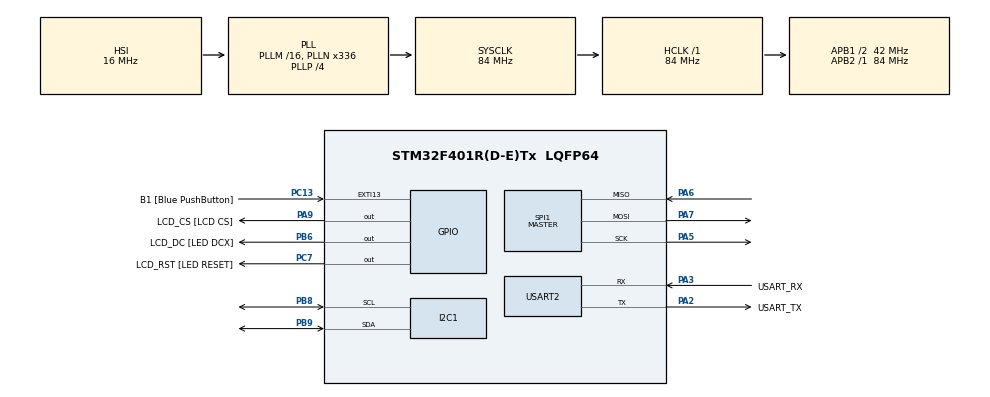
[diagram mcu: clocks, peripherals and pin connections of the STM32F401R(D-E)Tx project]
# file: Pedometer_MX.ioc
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I2C1.I2C_Mode=I2C_Fast
Mcu.Family=STM32F4
Mcu.Name=STM32F401R(D-E)Tx
Mcu.Package=LQFP64
NVIC.EXTI15_10_IRQn=true\:0\:0\:false\:false\:true\:true\:true\:true
NVIC.PriorityGroup=NVIC_PRIORITYGROUP_0
NVIC.TIM2_IRQn=true\:0\:0\:false\:false\:true\:true\:true\:true
PA13.GPIO_Label=TMS
PA13.Mode=Serial_Wire
PA13.Signal=SYS_JTMS-SWDIO
PA14.GPIO_Label=TCK
PA14.Mode=Serial_Wire
PA14.Signal=SYS_JTCK-SWCLK
PA2.GPIO_Label=USART_TX
PA2.GPIO_Mode=GPIO_MODE_AF_PP
PA2.GPIO_PuPd=GPIO_NOPULL
PA2.GPIO_Speed=GPIO_SPEED_FREQ_LOW
PA2.Mode=Asynchronous
PA2.Signal=USART2_TX
PA3.GPIO_Label=USART_RX
PA3.GPIO_Mode=GPIO_MODE_AF_PP
PA3.GPIO_PuPd=GPIO_NOPULL
PA3.GPIO_Speed=GPIO_SPEED_FREQ_LOW
PA3.Mode=Asynchronous
PA3.Signal=USART2_RX
PA5.Mode=Full_Duplex_Master
PA5.Signal=SPI1_SCK
PA6.Mode=Full_Duplex_Master
PA6.Signal=SPI1_MISO
PA7.Mode=Full_Duplex_Master
PA7.Signal=SPI1_MOSI
PA9.GPIO_Label=LCD_CS [LCD CS]
PA9.GPIO_PuPd=GPIO_PULLUP
PA9.GPIO_Speed=GPIO_SPEED_FREQ_VERY_HIGH
PA9.Signal=GPIO_Output
PB3.GPIO_Label=SWO
PB3.Signal=SYS_JTDO-SWO
PB6.GPIO_Label=LCD_DC [LED DCX]
PB6.GPIO_PuPd=GPIO_PULLUP
PB6.GPIO_Speed=GPIO_SPEED_FREQ_VERY_HIGH
PB6.Signal=GPIO_Output
PB8.Mode=I2C
PB8.Signal=I2C1_SCL
PB9.Mode=I2C
PB9.Signal=I2C1_SDA
PC13-ANTI_TAMP.GPIO_Label=B1 [Blue PushButton]
PC13-ANTI_TAMP.GPIO_ModeDefaultEXTI=GPIO_MODE_IT_FALLING
PC13-ANTI_TAMP.GPIO_PuPd=GPIO_NOPULL
PC13-ANTI_TAMP.Signal=GPXTI13
PC14-OSC32_IN.Mode=LSE-External-Oscillator
PC14-OSC32_IN.Signal=RCC_OSC32_IN
PC15-OSC32_OUT.Mode=LSE-External-Oscillator
PC15-OSC32_OUT.Signal=RCC_OSC32_OUT
PC7.GPIO_Label=LCD_RST [LED RESET]
PC7.GPIO_PuPd=GPIO_PULLUP
PC7.GPIO_Speed=GPIO_SPEED_FREQ_VERY_HIGH
PC7.Signal=GPIO_Output
PH0\ -\ OSC_IN.Mode=HSE-External-Clock-Source
PH0\ -\ OSC_IN.Signal=RCC_OSC_IN
PH1\ -\ OSC_OUT.Mode=HSE-External-Clock-Source
PH1\ -\ OSC_OUT.Signal=RCC_OSC_OUT
ProjectManager.HeapSize=0x200
ProjectManager.StackSize=0x400
ProjectManager.TargetToolchain=MDK-ARM V5.32
RCC.48MHZClocksFreq_Value=48000000
RCC.AHBFreq_Value=84000000
RCC.APB1CLKDivider=RCC_HCLK_DIV2
RCC.APB1Freq_Value=42000000
RCC.APB1TimFreq_Value=84000000
RCC.APB2Freq_Value=84000000
RCC.APB2TimFreq_Value=84000000
RCC.CortexFreq_Value=84000000
RCC.HCLKFreq_Value=84000000
RCC.HSE_VALUE=8000000
RCC.HSI_VALUE=16000000
RCC.PLLN=336
RCC.PLLP=RCC_PLLP_DIV4
RCC.PLLQ=7
RCC.SYSCLKFreq_VALUE=84000000
RCC.SYSCLKSource=RCC_SYSCLKSOURCE_PLLCLK
RCC.VCOOutputFreq_Value=336000000
SPI1.Direction=SPI_DIRECTION_2LINES
SPI1.Mode=SPI_MODE_MASTER
SPI1.VirtualType=VM_MASTER
TIM2.AutoReloadPreload=TIM_AUTORELOAD_PRELOAD_ENABLE
TIM2.Period=4199
TIM2.Prescaler=999
USART2.VirtualMode=VM_ASYNC
VP_RTC_VS_RTC_Activate.Mode=RTC_Enabled
VP_RTC_VS_RTC_Calendar.Mode=RTC_Calendar
VP_TIM2_VS_ClockSourceINT.Mode=Internal
board=NUCLEO-F401RE

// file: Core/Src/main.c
/* USER CODE BEGIN Header */
/**
 ******************************************************************************
 * @file           : main.c
 * @brief          : Main program body
 ******************************************************************************
 * @attention
 *
 * Copyright (c) 2023 STMicroelectronics.
 * All rights reserved.
 *
 * This software is licensed under terms that can be found in the LICENSE file
 * in the root directory of this software component.
 * If no LICENSE file comes with this software, it is provided AS-IS.
 *
 ******************************************************************************
 */
/* USER CODE END Header */
#include "main.h"

/* USER CODE BEGIN Includes */
#include <string.h> /* strlen */
#include <stdio.h>  /* snprintf */
#include <math.h>   /* trunc */
#include "pedometer.h"
#include "display.h"
/* USER CODE END Includes */

/* USER CODE BEGIN PTD */
typedef struct displayFloatToInt_s
{
  int8_t sign; /* 0 means positive, 1 means negative*/
  uint32_t out_int;
  uint32_t out_dec;
} displayFloatToInt_t;
/* USER CODE END PTD */

/* USER CODE BEGIN PD */
#define MAX_BUF_SIZE 256
/* USER CODE END PD */

I2C_HandleTypeDef hi2c1;

RTC_HandleTypeDef hrtc;

SPI_HandleTypeDef hspi1;

TIM_HandleTypeDef htim2;

UART_HandleTypeDef huart2;

/* USER CODE BEGIN PV */
int RTC_SYNCH_PREDIV = 255;
static volatile uint8_t acquire_data_enable_request = 1;
static volatile uint8_t acquire_data_disable_request = 0;

static uint8_t acquire_data_enabled = 0;
static uint8_t verbose = 0; /* Verbose output to UART terminal ON/OFF. */

static char dataOut[MAX_BUF_SIZE];

static void *LSM6DS0_X_0_handle = NULL;
static void *HTS221_H_0_handle  = NULL;
static void *HTS221_T_0_handle  = NULL;

AccVector acc;
Acc data;
FilterAccBuffer coord_data;
StepDetectHandler hdetect;
int step_temp[2];
float temperature_temp[2];
float humidity_temp[2];

/* USER CODE END PV */

void SystemClock_Config(void);
static void MX_GPIO_Init(void);
static void MX_I2C1_Init(void);
static void MX_USART2_UART_Init(void);
static void MX_TIM2_Init(void);
static void MX_RTC_Init(void);
static void MX_SPI1_Init(void);
/* USER CODE BEGIN PFP */
static void initializeAllSensors(void);
static void enableAllSensors(void);
static void disableAllSensors(void);
static void floatToInt(float in, displayFloatToInt_t *out_value, int32_t dec_prec);
// static void RTC_Handler( void );

static void Accelero_Sensor_Handler(void *handle);
static void Humidity_Sensor_Handler( void *handle );
static void Temperature_Sensor_Handler( void *handle );
/* USER CODE END PFP */

int main(void)
{

  /* MCU Configuration--------------------------------------------------------*/

  /* Reset of all peripherals, Initializes the Flash interface and the Systick. */
  HAL_Init();

  /* Configure the system clock */
  SystemClock_Config();

  /* USER CODE BEGIN SysInit */

  /* Initialize LED */
  BSP_LED_Init(LED2);

  /* Initialize button */
  BSP_PB_Init(BUTTON_KEY, BUTTON_MODE_EXTI);

  /* USER CODE END SysInit */

  /* Initialize all configured peripherals */
  MX_GPIO_Init();
  MX_I2C1_Init();
  MX_USART2_UART_Init();
  MX_TIM2_Init();
  MX_RTC_Init();
  MX_SPI1_Init();
  /* USER CODE BEGIN 2 */
  initializeAllSensors();
  Display_Page_Initialize();
  HAL_TIM_Base_Start_IT(&htim2);
  /* USER CODE END 2 */

  /* Infinite loop */
  /* USER CODE BEGIN WHILE */
  while (1)
  {
    if (acquire_data_enable_request == 1)
    {
      enableAllSensors();
      acquire_data_enabled = 1;
      acquire_data_enable_request = 0;
    }

    if (acquire_data_disable_request == 1)
    {
      disableAllSensors();
      acquire_data_enabled = 0;
      acquire_data_disable_request = 0;
    }
    /* USER CODE END WHILE */

  }
}

void SystemClock_Config(void)
{
  RCC_OscInitTypeDef RCC_OscInitStruct = {0};
  RCC_ClkInitTypeDef RCC_ClkInitStruct = {0};

  /** Configure the main internal regulator output voltage
  */
  __HAL_RCC_PWR_CLK_ENABLE();
  __HAL_PWR_VOLTAGESCALING_CONFIG(PWR_REGULATOR_VOLTAGE_SCALE2);

  /** Initializes the RCC Oscillators according to the specified parameters
  * in the RCC_OscInitTypeDef structure.
  */
  RCC_OscInitStruct.OscillatorType = RCC_OSCILLATORTYPE_HSI|RCC_OSCILLATORTYPE_LSI;
  RCC_OscInitStruct.HSIState = RCC_HSI_ON;
  RCC_OscInitStruct.HSICalibrationValue = RCC_HSICALIBRATION_DEFAULT;
  RCC_OscInitStruct.LSIState = RCC_LSI_ON;
  RCC_OscInitStruct.PLL.PLLState = RCC_PLL_ON;
  RCC_OscInitStruct.PLL.PLLSource = RCC_PLLSOURCE_HSI;
  RCC_OscInitStruct.PLL.PLLM = 16;
  RCC_OscInitStruct.PLL.PLLN = 336;
  RCC_OscInitStruct.PLL.PLLP = RCC_PLLP_DIV4;
  RCC_OscInitStruct.PLL.PLLQ = 7;
  if (HAL_RCC_OscConfig(&RCC_OscInitStruct) != HAL_OK)
  {
    Error_Handler();
  }

  /** Initializes the CPU, AHB and APB buses clocks
  */
  RCC_ClkInitStruct.ClockType = RCC_CLOCKTYPE_HCLK|RCC_CLOCKTYPE_SYSCLK
                              |RCC_CLOCKTYPE_PCLK1|RCC_CLOCKTYPE_PCLK2;
  RCC_ClkInitStruct.SYSCLKSource = RCC_SYSCLKSOURCE_PLLCLK;
  RCC_ClkInitStruct.AHBCLKDivider = RCC_SYSCLK_DIV1;
  RCC_ClkInitStruct.APB1CLKDivider = RCC_HCLK_DIV2;
  RCC_ClkInitStruct.APB2CLKDivider = RCC_HCLK_DIV1;

  if (HAL_RCC_ClockConfig(&RCC_ClkInitStruct, FLASH_LATENCY_2) != HAL_OK)
  {
    Error_Handler();
  }
}

static void MX_I2C1_Init(void)
{

  hi2c1.Instance = I2C1;
  hi2c1.Init.ClockSpeed = 400000;
  hi2c1.Init.DutyCycle = I2C_DUTYCYCLE_2;
  hi2c1.Init.OwnAddress1 = 0;
  hi2c1.Init.AddressingMode = I2C_ADDRESSINGMODE_7BIT;
  hi2c1.Init.DualAddressMode = I2C_DUALADDRESS_DISABLE;
  hi2c1.Init.OwnAddress2 = 0;
  hi2c1.Init.GeneralCallMode = I2C_GENERALCALL_DISABLE;
  hi2c1.Init.NoStretchMode = I2C_NOSTRETCH_DISABLE;
  if (HAL_I2C_Init(&hi2c1) != HAL_OK)
  {
    Error_Handler();
  }

}

static void MX_RTC_Init(void)
{

  RTC_TimeTypeDef sTime = {0};
  RTC_DateTypeDef sDate = {0};

  /** Initialize RTC Only
  */
  hrtc.Instance = RTC;
  hrtc.Init.HourFormat = RTC_HOURFORMAT_24;
  hrtc.Init.AsynchPrediv = 127;
  hrtc.Init.SynchPrediv = 255;
  hrtc.Init.OutPut = RTC_OUTPUT_DISABLE;
  hrtc.Init.OutPutPolarity = RTC_OUTPUT_POLARITY_HIGH;
  hrtc.Init.OutPutType = RTC_OUTPUT_TYPE_OPENDRAIN;
  if (HAL_RTC_Init(&hrtc) != HAL_OK)
  {
    Error_Handler();
  }

  /** Initialize RTC and set the Time and Date
  */
  sTime.Hours = 0x0;
  sTime.Minutes = 0x0;
  sTime.Seconds = 0x0;
  sTime.DayLightSaving = RTC_DAYLIGHTSAVING_NONE;
  sTime.StoreOperation = RTC_STOREOPERATION_RESET;
  if (HAL_RTC_SetTime(&hrtc, &sTime, RTC_FORMAT_BCD) != HAL_OK)
  {
    Error_Handler();
  }
  sDate.WeekDay = RTC_WEEKDAY_MONDAY;
  sDate.Month = RTC_MONTH_JANUARY;
  sDate.Date = 0x1;
  sDate.Year = 0x0;

  if (HAL_RTC_SetDate(&hrtc, &sDate, RTC_FORMAT_BCD) != HAL_OK)
  {
    Error_Handler();
  }

}

static void MX_SPI1_Init(void)
{

  /* SPI1 parameter configuration*/
  hspi1.Instance = SPI1;
  hspi1.Init.Mode = SPI_MODE_MASTER;
  hspi1.Init.Direction = SPI_DIRECTION_2LINES;
  hspi1.Init.DataSize = SPI_DATASIZE_8BIT;
  hspi1.Init.CLKPolarity = SPI_POLARITY_LOW;
  hspi1.Init.CLKPhase = SPI_PHASE_1EDGE;
  hspi1.Init.NSS = SPI_NSS_SOFT;
  hspi1.Init.BaudRatePrescaler = SPI_BAUDRATEPRESCALER_2;
  hspi1.Init.FirstBit = SPI_FIRSTBIT_MSB;
  hspi1.Init.TIMode = SPI_TIMODE_DISABLE;
  hspi1.Init.CRCCalculation = SPI_CRCCALCULATION_DISABLE;
  hspi1.Init.CRCPolynomial = 10;
  if (HAL_SPI_Init(&hspi1) != HAL_OK)
  {
    Error_Handler();
  }

}

static void MX_TIM2_Init(void)
{

  TIM_ClockConfigTypeDef sClockSourceConfig = {0};
  TIM_MasterConfigTypeDef sMasterConfig = {0};

  htim2.Instance = TIM2;
  htim2.Init.Prescaler = 999;
  htim2.Init.CounterMode = TIM_COUNTERMODE_UP;
  htim2.Init.Period = 4199;
  htim2.Init.ClockDivision = TIM_CLOCKDIVISION_DIV1;
  htim2.Init.AutoReloadPreload = TIM_AUTORELOAD_PRELOAD_ENABLE;
  if (HAL_TIM_Base_Init(&htim2) != HAL_OK)
  {
    Error_Handler();
  }
  sClockSourceConfig.ClockSource = TIM_CLOCKSOURCE_INTERNAL;
  if (HAL_TIM_ConfigClockSource(&htim2, &sClockSourceConfig) != HAL_OK)
  {
    Error_Handler();
  }
  sMasterConfig.MasterOutputTrigger = TIM_TRGO_RESET;
  sMasterConfig.MasterSlaveMode = TIM_MASTERSLAVEMODE_DISABLE;
  if (HAL_TIMEx_MasterConfigSynchronization(&htim2, &sMasterConfig) != HAL_OK)
  {
    Error_Handler();
  }

}

static void MX_USART2_UART_Init(void)
{

  huart2.Instance = USART2;
  huart2.Init.BaudRate = 115200;
  huart2.Init.WordLength = UART_WORDLENGTH_8B;
  huart2.Init.StopBits = UART_STOPBITS_1;
  huart2.Init.Parity = UART_PARITY_NONE;
  huart2.Init.Mode = UART_MODE_TX_RX;
  huart2.Init.HwFlowCtl = UART_HWCONTROL_NONE;
  huart2.Init.OverSampling = UART_OVERSAMPLING_16;
  if (HAL_UART_Init(&huart2) != HAL_OK)
  {
    Error_Handler();
  }

}

static void MX_GPIO_Init(void)
{
  GPIO_InitTypeDef GPIO_InitStruct = {0};

  /* GPIO Ports Clock Enable */
  __HAL_RCC_GPIOC_CLK_ENABLE();
  __HAL_RCC_GPIOH_CLK_ENABLE();
  __HAL_RCC_GPIOA_CLK_ENABLE();
  __HAL_RCC_GPIOB_CLK_ENABLE();

  /*Configure GPIO pin Output Level */
  HAL_GPIO_WritePin(LCD_RST_GPIO_Port, LCD_RST_Pin, GPIO_PIN_RESET);

  /*Configure GPIO pin Output Level */
  HAL_GPIO_WritePin(LCD_CS_GPIO_Port, LCD_CS_Pin, GPIO_PIN_RESET);

  /*Configure GPIO pin Output Level */
  HAL_GPIO_WritePin(LCD_DC_GPIO_Port, LCD_DC_Pin, GPIO_PIN_RESET);

  /*Configure GPIO pin : B1_Pin */
  GPIO_InitStruct.Pin = B1_Pin;
  GPIO_InitStruct.Mode = GPIO_MODE_IT_FALLING;
  GPIO_InitStruct.Pull = GPIO_NOPULL;
  HAL_GPIO_Init(B1_GPIO_Port, &GPIO_InitStruct);

  /*Configure GPIO pin : LCD_RST_Pin */
  GPIO_InitStruct.Pin = LCD_RST_Pin;
  GPIO_InitStruct.Mode = GPIO_MODE_OUTPUT_PP;
  GPIO_InitStruct.Pull = GPIO_PULLUP;
  GPIO_InitStruct.Speed = GPIO_SPEED_FREQ_VERY_HIGH;
  HAL_GPIO_Init(LCD_RST_GPIO_Port, &GPIO_InitStruct);

  /*Configure GPIO pin : LCD_CS_Pin */
  GPIO_InitStruct.Pin = LCD_CS_Pin;
  GPIO_InitStruct.Mode = GPIO_MODE_OUTPUT_PP;
  GPIO_InitStruct.Pull = GPIO_PULLUP;
  GPIO_InitStruct.Speed = GPIO_SPEED_FREQ_VERY_HIGH;
  HAL_GPIO_Init(LCD_CS_GPIO_Port, &GPIO_InitStruct);

  /*Configure GPIO pin : LCD_DC_Pin */
  GPIO_InitStruct.Pin = LCD_DC_Pin;
  GPIO_InitStruct.Mode = GPIO_MODE_OUTPUT_PP;
  GPIO_InitStruct.Pull = GPIO_PULLUP;
  GPIO_InitStruct.Speed = GPIO_SPEED_FREQ_VERY_HIGH;
  HAL_GPIO_Init(LCD_DC_GPIO_Port, &GPIO_InitStruct);

  /* EXTI interrupt init*/
  HAL_NVIC_SetPriority(EXTI15_10_IRQn, 0, 0);
  HAL_NVIC_EnableIRQ(EXTI15_10_IRQn);

}

/* USER CODE BEGIN 4 */
/**
 * @brief  Splits a float into two integer values.
 * @param  in the float value as input
 * @param  out_value the pointer to the output integer structure
 * @param  dec_prec the decimal precision to be used
 * @retval None
 */
static void floatToInt(float in, displayFloatToInt_t *out_value, int32_t dec_prec)
{
  if (in >= 0.0f)
  {
    out_value->sign = 0;
  }
  else
  {
    out_value->sign = 1;
    in = -in;
  }

  out_value->out_int = (int32_t)in;
  in = in - (float)(out_value->out_int);
  out_value->out_dec = (int32_t)trunc(in * pow(10, dec_prec));
}
/**
 * @brief  Handles the time+date getting/sending
 * @param  None
 * @retval None
 */
static void RTC_Handler(void)
{

  uint8_t subSec = 0;
  RTC_DateTypeDef sdatestructureget;
  RTC_TimeTypeDef stimestructure;

  HAL_RTC_GetTime(&hrtc, &stimestructure, FORMAT_BIN);
  HAL_RTC_GetDate(&hrtc, &sdatestructureget, FORMAT_BIN);
  subSec = ((((((int)RTC_SYNCH_PREDIV) - ((int)stimestructure.SubSeconds)) * 100) /
             (RTC_SYNCH_PREDIV + 1)) &
            0xff);

  snprintf(dataOut, MAX_BUF_SIZE, "TimeStamp: %02d:%02d:%02d.%02d ", stimestructure.Hours, stimestructure.Minutes,
           stimestructure.Seconds, subSec);
  // snprintf( dataOut, MAX_BUF_SIZE, "\r\n\r\n\r\nTimeStamp: %02d:%02d:%02d.%02d\r\n", stimestructure.Hours, stimestructure.Minutes,
  //          stimestructure.Seconds, subSec );

  HAL_UART_Transmit(&huart2, (uint8_t *)dataOut, strlen(dataOut), 5000);
}

/**
 * @brief  Handles the accelerometer axes data getting/sending
 * @param  handle the device handle
 * @retval None
 */
static void Accelero_Sensor_Handler(void *handle)
{

  uint8_t who_am_i;
  float odr;
  float fullScale;
  uint8_t id;
  SensorAxes_t acceleration;
  uint8_t status;
  displayFloatToInt_t out_value;
  AccVector data_in;  // For pedometer

  BSP_ACCELERO_Get_Instance(handle, &id);

  BSP_ACCELERO_IsInitialized(handle, &status);

  if (status == 1)
  {
    if (BSP_ACCELERO_Get_Axes(handle, &acceleration) == COMPONENT_ERROR)
    {
      acceleration.AXIS_X = 0;
      acceleration.AXIS_Y = 0;
      acceleration.AXIS_Z = 0;
    }

    // For pedometer
    data_in.AccX = (float)acceleration.AXIS_X / 1000.0f;
    data_in.AccY = (float)acceleration.AXIS_Y / 1000.0f;
    data_in.AccZ = (float)acceleration.AXIS_Z / 1000.0f;
    pedometer_update(data_in, &data, &coord_data, &hdetect);
    step_temp[0] = hdetect.step;

    // snprintf( dataOut, MAX_BUF_SIZE, "\r\nACC_X[%d]: %d, ACC_Y[%d]: %d, ACC_Z[%d]: %d\r\n", (int)id, (int)acceleration.AXIS_X, (int)id,
    //          (int)acceleration.AXIS_Y, (int)id, (int)acceleration.AXIS_Z );

    // HAL_UART_Transmit( &huart2, ( uint8_t * )dataOut, strlen( dataOut ), 5000 );

    if (verbose == 1)
    {
      if (BSP_ACCELERO_Get_WhoAmI(handle, &who_am_i) == COMPONENT_ERROR)
      {
        snprintf(dataOut, MAX_BUF_SIZE, "WHO AM I address[%d]: ERROR\r\n", id);
      }
      else
      {
        snprintf(dataOut, MAX_BUF_SIZE, "WHO AM I address[%d]: 0x%02X\r\n", id, who_am_i);
      }

      HAL_UART_Transmit(&huart2, (uint8_t *)dataOut, strlen(dataOut), 5000);

      if (BSP_ACCELERO_Get_ODR(handle, &odr) == COMPONENT_ERROR)
      {
        snprintf(dataOut, MAX_BUF_SIZE, "ODR[%d]: ERROR\r\n", id);
      }
      else
      {
        floatToInt(odr, &out_value, 3);
        snprintf(dataOut, MAX_BUF_SIZE, "ODR[%d]: %d.%03d Hz\r\n", (int)id, (int)out_value.out_int, (int)out_value.out_dec);
      }

      HAL_UART_Transmit(&huart2, (uint8_t *)dataOut, strlen(dataOut), 5000);

      if (BSP_ACCELERO_Get_FS(handle, &fullScale) == COMPONENT_ERROR)
      {
        snprintf(dataOut, MAX_BUF_SIZE, "FS[%d]: ERROR\r\n", id);
      }
      else
      {
        floatToInt(fullScale, &out_value, 3);
        snprintf(dataOut, MAX_BUF_SIZE, "FS[%d]: %d.%03d g\r\n", (int)id, (int)out_value.out_int, (int)out_value.out_dec);
      }

      HAL_UART_Transmit(&huart2, (uint8_t *)dataOut, strlen(dataOut), 5000);
    }
  }
}
/**
 * @brief  Handles the humidity data getting/sending
 * @param  handle the device handle
 * @retval None
 */
static void Humidity_Sensor_Handler( void *handle )
{

  uint8_t who_am_i;
  float odr;
  uint8_t id;
  float humidity;
  uint8_t status;
  displayFloatToInt_t out_value;

  BSP_HUMIDITY_Get_Instance( handle, &id );

  BSP_HUMIDITY_IsInitialized( handle, &status );

  if ( status == 1 )
  {
    if ( BSP_HUMIDITY_Get_Hum( handle, &humidity ) == COMPONENT_ERROR )
    {
      humidity = 0.0f;
    }

    humidity_temp[0] = humidity;
    // floatToInt( humidity, &out_value, 2 );
    // snprintf( dataOut, MAX_BUF_SIZE, "\r\nHUM[%d]: %d.%02d\r\n", (int)id, (int)out_value.out_int, (int)out_value.out_dec );
    // HAL_UART_Transmit( &huart2, ( uint8_t * )dataOut, strlen( dataOut ), 5000 );

    if ( verbose == 1 )
    {
      if ( BSP_HUMIDITY_Get_WhoAmI( handle, &who_am_i ) == COMPONENT_ERROR )
      {
        snprintf( dataOut, MAX_BUF_SIZE, "WHO AM I address[%d]: ERROR\r\n", id );
      }
      else
      {
        snprintf( dataOut, MAX_BUF_SIZE, "WHO AM I address[%d]: 0x%02X\r\n", id, who_am_i );
      }

      HAL_UART_Transmit( &huart2, ( uint8_t * )dataOut, strlen( dataOut ), 5000 );

      if ( BSP_HUMIDITY_Get_ODR( handle, &odr ) == COMPONENT_ERROR )
      {
        snprintf( dataOut, MAX_BUF_SIZE, "ODR[%d]: ERROR\r\n", id );
      }
      else
      {
        floatToInt( odr, &out_value, 3 );
        snprintf( dataOut, MAX_BUF_SIZE, "ODR[%d]: %d.%03d Hz\r\n", (int)id, (int)out_value.out_int, (int)out_value.out_dec );
      }

      HAL_UART_Transmit( &huart2, ( uint8_t * )dataOut, strlen( dataOut ), 5000 );
    }
  }
}
/**
 * @brief  Handles the temperature data getting/sending
 * @param  handle the device handle
 * @retval None
 */
static void Temperature_Sensor_Handler( void *handle )
{

  uint8_t who_am_i;
  float odr;
  uint8_t id;
  float temperature;
  uint8_t status;
  displayFloatToInt_t out_value;

  BSP_TEMPERATURE_Get_Instance( handle, &id );

  BSP_TEMPERATURE_IsInitialized( handle, &status );

  if ( status == 1 )
  {
    if ( BSP_TEMPERATURE_Get_Temp( handle, &temperature ) == COMPONENT_ERROR )
    {
      temperature = 0.0f;
    }

    temperature_temp[0] = temperature;
    // floatToInt( temperature, &out_value, 2 );
    // snprintf( dataOut, MAX_BUF_SIZE, "\r\nTEMP[%d]: %c%d.%02d\r\n", (int)id, ((out_value.sign) ? '-' : '+'), (int)out_value.out_int, (int)out_value.out_dec );
    // HAL_UART_Transmit( &huart2, ( uint8_t * )dataOut, strlen( dataOut ), 5000 );

    if ( verbose == 1 )
    {
      if ( BSP_TEMPERATURE_Get_WhoAmI( handle, &who_am_i ) == COMPONENT_ERROR )
      {
        snprintf( dataOut, MAX_BUF_SIZE, "WHO AM I address[%d]: ERROR\r\n", id );
      }
      else
      {
        snprintf( dataOut, MAX_BUF_SIZE, "WHO AM I address[%d]: 0x%02X\r\n", id, who_am_i );
      }

      HAL_UART_Transmit( &huart2, ( uint8_t * )dataOut, strlen( dataOut ), 5000 );

      if ( BSP_TEMPERATURE_Get_ODR( handle, &odr ) == COMPONENT_ERROR )
      {
        snprintf( dataOut, MAX_BUF_SIZE, "ODR[%d]: ERROR\r\n", id );
      }
      else
      {
        floatToInt( odr, &out_value, 3 );
        snprintf( dataOut, MAX_BUF_SIZE, "ODR[%d]: %d.%03d Hz\r\n", (int)id, (int)out_value.out_int, (int)out_value.out_dec );
      }

      HAL_UART_Transmit( &huart2, ( uint8_t * )dataOut, strlen( dataOut ), 5000 );
    }
  }
}
/**
 * @brief  Initialize all sensors
 * @param  None
 * @retval None
 */
static void initializeAllSensors(void)
{

  BSP_ACCELERO_Init(LSM6DS0_X_0, &LSM6DS0_X_0_handle);
  BSP_HUMIDITY_Init( HTS221_H_0, &HTS221_H_0_handle );
  BSP_TEMPERATURE_Init( HTS221_T_0, &HTS221_T_0_handle );
}

/**
 * @brief  Enable all sensors
 * @param  None
 * @retval None
 */
static void enableAllSensors(void)
{

  BSP_ACCELERO_Sensor_Enable(LSM6DS0_X_0_handle);
  BSP_HUMIDITY_Sensor_Enable( HTS221_H_0_handle );
  BSP_TEMPERATURE_Sensor_Enable( HTS221_T_0_handle );
}

/**
 * @brief  Disable all sensors
 * @param  None
 * @retval None
 */
static void disableAllSensors(void)
{

  BSP_ACCELERO_Sensor_Disable(LSM6DS0_X_0_handle);
  BSP_HUMIDITY_Sensor_Disable( HTS221_H_0_handle );
  BSP_TEMPERATURE_Sensor_Disable( HTS221_T_0_handle );
}
/**
 * @brief  EXTI line detection callbacks
 * @param  GPIO_Pin: Specifies the pins connected EXTI line
 * @retval None
 */
void HAL_GPIO_EXTI_Callback(uint16_t GPIO_Pin)
{
  /* User button. */
  if (GPIO_Pin == KEY_BUTTON_PIN)
  {
    if (BSP_PB_GetState(BUTTON_KEY) == GPIO_PIN_RESET)
    {
      if (acquire_data_enabled == 0)
      {
        acquire_data_enable_request = 1;
      }
      else
      {
        acquire_data_disable_request = 1;
      }
    }
  }
}

void HAL_TIM_PeriodElapsedCallback(TIM_HandleTypeDef *htim)
{
  /* Prevent unused argument(s) compilation warning */

  // snprintf( dataOut, MAX_BUF_SIZE, "\r\nTime Interrupted!\r\n");
  // HAL_UART_Transmit( &huart2, ( uint8_t * )dataOut, strlen( dataOut ), 5000 );

  if(htim->Instance == TIM2){
    if(acquire_data_enabled == 1){
      Accelero_Sensor_Handler(LSM6DS0_X_0_handle);
      Humidity_Sensor_Handler( HTS221_H_0_handle );
      Temperature_Sensor_Handler( HTS221_T_0_handle );
      RTC_Handler(); //print time
      snprintf(dataOut, MAX_BUF_SIZE, "%d %.3f %.3f %.3f %.3f %.3f %.3f %.3f %.3f %.2f %.2f\r\n",
        hdetect.step,
        data.acc_data.AccX, data.acc_data.AccY, data.acc_data.AccZ,
        data.grav_data.AccX, data.grav_data.AccY, data.grav_data.AccZ,
        coord_data.lp_dot_data.unfiltered[0], coord_data.lp_dot_data.filtered[0],
        temperature_temp[0], humidity_temp[0]);
      HAL_UART_Transmit(&huart2, (uint8_t *)dataOut, strlen(dataOut), 5000);
      if(step_temp[0] != step_temp[1]){
        Display_Step_Update(step_temp[0]);
        step_temp[1] = step_temp[0];
      }
      if(temperature_temp[0] != temperature_temp[1]){
        Display_Temperature_Update(temperature_temp[0]);
        temperature_temp[1] = temperature_temp[0];
      }
      if(humidity_temp[0] != humidity_temp[1]){
        Display_Humidity_Update(humidity_temp[0]);
        humidity_temp[1] = humidity_temp[0];
      }
    }
  }

}
/* USER CODE END 4 */

void Error_Handler(void)
{
  __disable_irq();
  while (1)
  {
  }
}
